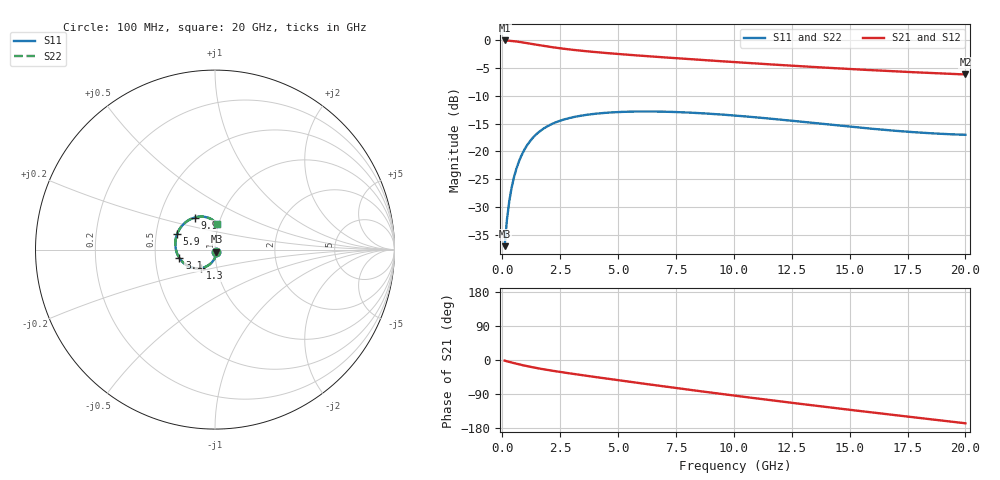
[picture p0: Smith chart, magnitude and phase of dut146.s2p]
! Touchstone file exported from HFSS 2023.1.0
!  File:  D:/Users/fzz/RDL_TSV/temp_RDL_TSV_146_1778752615.aedt
!  Generated:  6:04:18 %x4E0B%x5348  5%x6708 14, 2026
!  Design:  RDL_TSV
!  Project:  temp_RDL_TSV_146_1778752615
!  Setup:  Setup1
!  Solution:  Sweep
! Variables:
!  dtsv = 18.52um
!  hbump = 3um
!  htsv = 72.74um
!  ldown = 476.24um
!  lrdl = 162.71um
!  p = 40
!  p1 = 40.53um
!  rhole = 10um
!  subl = 2079.56um
!  t = 450um
!  tdown = 3.43um
!  trdl = 3.1um
!  viad = 10um
!  wdown = 29.76um
!  wrdl = 25.89um
!  xbump = 18um
# GHz S MA R 50.000000
! Terminal data exported
! Port[1] = TM1_1_T1
! Port[2] = TM1_4_T1
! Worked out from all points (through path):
!   200 points, 100 MHz to 20 GHz, reference 50 ohm
!   highest |S21| = -0.08 dB at 100 MHz (marker M1); lowest = -6.2 dB at 20 GHz (marker M2)
!   group delay of S21, straight-line fit = 22.1 ps
!   lowest |S11| = -37.0 dB at 100 MHz (marker M3), VSWR 1.03, Z = 50.8 - j1.17 ohm
!   |S11| at or under -10 dB: start of sweep to end of sweep
!   |S22| runs from -37.0 to -12.8 dB; largest |S21 - S12| = 9.9e-14
!   S11 on the Smith chart (normalised r, x): 100 MHz: 1.02, -0.02; 1.3 GHz: 0.83, -0.18; 3.1 GHz: 0.67, -0.06; 5.9 GHz: 0.64, +0.12; 9.9 GHz: 0.75, +0.28; 20 GHz: 0.98, +0.28
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0.1  0.01413 -54.7  0.9905 -1.7  0.9905 -1.7  0.01413 -54.7
! Gamma 0 0 0 0
! Port Impedance 50 0 50 0
0.2  0.02441 -74.0  0.9879 -3.4  0.9879 -3.4  0.02441 -74.0
0.3  0.03565 -84.0  0.9844 -5.0  0.9844 -5.0  0.03565 -84.0
0.4  0.04702 -91.1  0.9801 -6.6  0.9801 -6.6  0.04702 -91.1
0.5  0.05821 -96.9  0.9751 -8.1  0.9751 -8.1  0.05821 -96.9
0.6  0.06904 -101.9  0.9695 -9.6  0.9695 -9.6  0.06904 -101.9
0.8  0.08937 -110.5  0.9568 -12.5  0.9568 -12.5  0.08937 -110.5
1  0.1077 -118.0  0.9427 -15.3  0.9427 -15.3  0.1077 -118.0
1.3  0.1313 -127.8  0.9204 -19.1  0.9204 -19.1  0.1313 -127.8
2  0.1706 -146.0  0.8715 -26.7  0.8715 -26.7  0.1706 -146.0
3.1  0.2038 -166.8  0.8139 -36.9  0.8139 -36.9  0.2039 -166.8
3.5  0.211 -172.9  0.7976 -40.4  0.7976 -40.4  0.2111 -172.9
5.9  0.2283 157.4  0.7249 -60.7  0.7249 -60.7  0.2284 157.4
6.8  0.2278 148.3  0.7029 -68.2  0.7029 -68.2  0.228 148.3
8.3  0.222 134.7  0.6691 -80.3  0.6691 -80.3  0.2222 134.7
9.9  0.2111 122.2  0.6359 -93.0  0.6359 -93.0  0.2114 122.1
10.1  0.2095 120.7  0.632 -94.6  0.632 -94.6  0.2098 120.7
11.8  0.1949 109.9  0.6002 -107.6  0.6002 -107.6  0.1953 109.9
13.4  0.1806 101.7  0.5732 -119.6  0.5732 -119.6  0.1809 101.7
15  0.1671 95.5  0.5492 -131.4  0.5492 -131.4  0.1675 95.5
16.7  0.1549 90.8  0.5266 -143.6  0.5266 -143.6  0.1554 90.9
20  0.1411 86.4  0.4906 -167.0  0.4906 -167.0  0.1415 86.5
